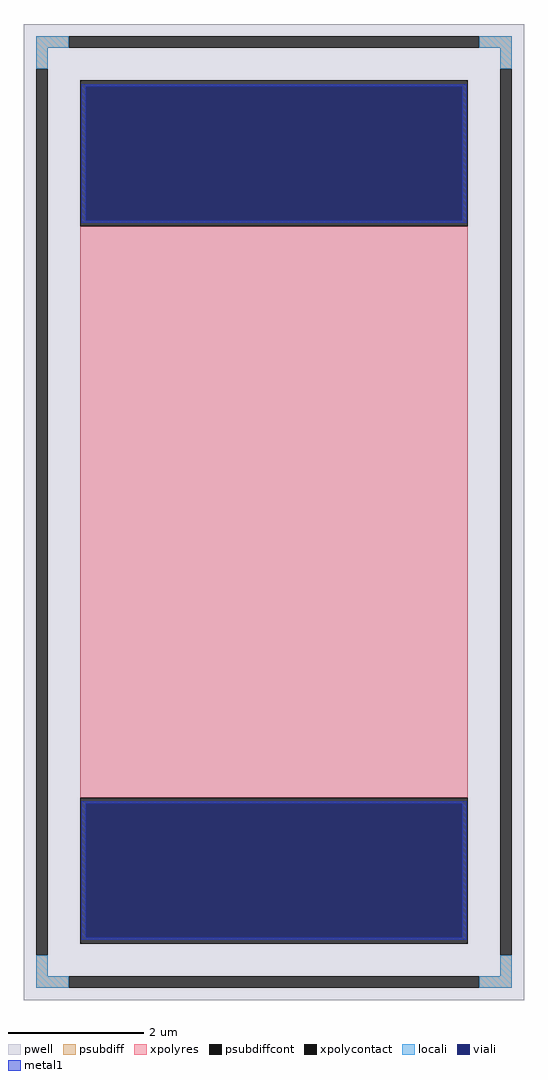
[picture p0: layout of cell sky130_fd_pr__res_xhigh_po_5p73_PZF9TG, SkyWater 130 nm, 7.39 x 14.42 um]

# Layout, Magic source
magic
tech sky130A
magscale 1 2
<< pwell >>
rect -739 -1442 739 1442
<< psubdiff >>
rect -703 1372 -607 1406
rect 607 1372 703 1406
rect -703 1310 -669 1372
rect 669 1310 703 1372
rect -703 -1372 -669 -1310
rect 669 -1372 703 -1310
rect -703 -1406 -607 -1372
rect 607 -1406 703 -1372
<< psubdiffcont >>
rect -607 1372 607 1406
rect -703 -1310 -669 1310
rect 669 -1310 703 1310
rect -607 -1406 607 -1372
<< xpolycontact >>
rect -573 844 573 1276
rect -573 -1276 573 -844
<< xpolyres >>
rect -573 -844 573 844
<< locali >>
rect -703 1372 -607 1406
rect 607 1372 703 1406
rect -703 1310 -669 1372
rect 669 1310 703 1372
rect -703 -1372 -669 -1310
rect 669 -1372 703 -1310
rect -703 -1406 -607 -1372
rect 607 -1406 703 -1372
<< viali >>
rect -557 861 557 1258
rect -557 -1258 557 -861
<< metal1 >>
rect -569 1258 569 1264
rect -569 861 -557 1258
rect 557 861 569 1258
rect -569 855 569 861
rect -569 -861 569 -855
rect -569 -1258 -557 -861
rect 557 -1258 569 -861
rect -569 -1264 569 -1258
<< properties >>
string FIXED_BBOX -686 -1389 686 1389
string gencell sky130_fd_pr__res_xhigh_po_5p73
string library sky130
string parameters w 5.730 l 8.6 m 1 nx 1 wmin 5.730 lmin 0.50 class resistor rho 2000 val 3.067k dummy 0 dw 0.0 term 188.2 sterm 0.0 caplen 0 wmax 5.730 guard 1 glc 1 grc 1 gtc 1 gbc 1 compatible {sky130_fd_pr__res_xhigh_po_0p35  sky130_fd_pr__res_xhigh_po_0p69 sky130_fd_pr__res_xhigh_po_1p41  sky130_fd_pr__res_xhigh_po_2p85 sky130_fd_pr__res_xhigh_po_5p73} snake 0 full_metal 1 n_guard 0 hv_guard 0 vias 1 viagb 0 viagt 0 viagl 0 viagr 0 mult 1
<< end >>
